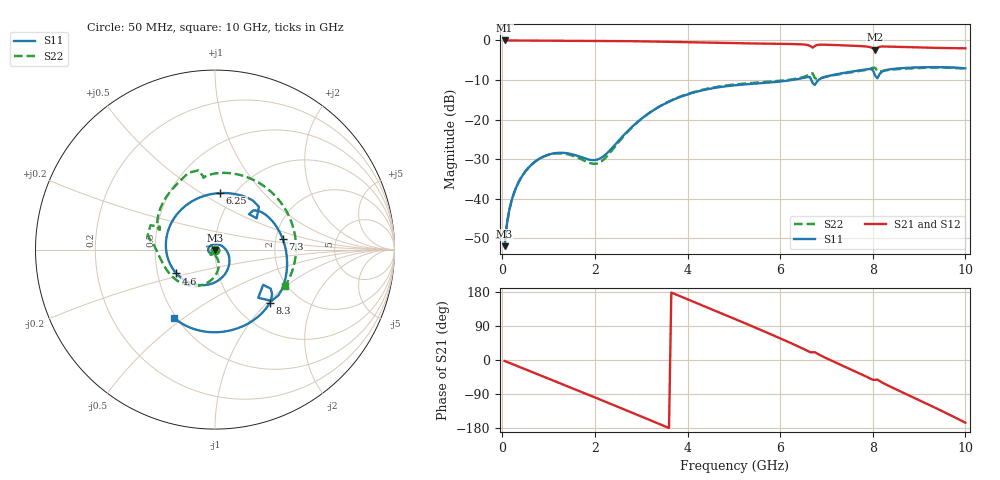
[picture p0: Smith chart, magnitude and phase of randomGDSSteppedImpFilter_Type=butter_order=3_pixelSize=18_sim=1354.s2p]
! freq	dB(S11)	phase(S11)	dB(S12)	phase(S12)
!  dB(S21)	phase(S21)	dB(S22)	phase(S22)
!S-par simulation data
#  GHz  S  DB  R 50
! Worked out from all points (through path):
!   200 points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, 50 MHz to 10 GHz, reference 50 ohm
!   highest |S21| = 0.00 dB at 50 MHz (marker M1); lowest = -2.4 dB at 8.05 GHz (marker M2)
!   group delay of S21, straight-line fit = 145 ps
!   lowest |S11| = -51.9 dB at 50 MHz (marker M3), VSWR 1.01, Z = 50 - j0.252 ohm
!   |S11| at or under -10 dB: start of sweep to 6.248 GHz; 6.674 GHz to 6.829 GHz (155.4 MHz wide, 2.3 % of centre)
!   |S22| runs from -51.9 to -6.9 dB; largest |S21 - S12| = 0
!   S11 on the Smith chart (normalised r, x): 50 MHz: 1.00, -0.01; 4.6 GHz: 0.63, -0.18; 6.25 GHz: 0.86, +0.60; 7.3 GHz: 2.19, +0.29; 8.3 GHz: 1.44, -1.04; 10 GHz: 0.48, -0.46
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0.05  -51.95 -85.5  -0.00 -2.5  -0.00 -2.5  -51.94 -83.9
0.1  -46.32 -91.9  -0.01 -5.0  -0.01 -5.0  -46.29 -89.4
0.2  -40.50 -100.6  -0.02 -9.9  -0.02 -9.9  -40.45 -95.6
0.55  -32.34 -124.9  -0.04 -27.1  -0.04 -27.1  -32.33 -110.5
1.1  -28.53 -163.3  -0.07 -54.2  -0.07 -54.2  -28.62 -128.5
1.75  -29.66 132.4  -0.10 -86.3  -0.10 -86.3  -30.25 -129.6
2.1  -29.86 73.0  -0.12 -103.7  -0.12 -103.7  -30.82 -101.0
2.5  -25.47 10.1  -0.15 -123.7  -0.15 -123.7  -25.85 -75.4
3.4  -16.66 -67.5  -0.31 -169.3  -0.31 -169.3  -16.63 -90.2
3.95  -13.81 -104.7  -0.45 162.8  -0.45 162.8  -13.71 -109.0
4.6  -11.96 -148.2  -0.61 129.9  -0.61 129.9  -11.79 -131.3
5.05  -11.29 -179.9  -0.70 106.9  -0.70 106.9  -11.09 -145.7
5.65  -10.75 134.2  -0.79 75.8  -0.79 75.8  -10.53 -162.6
6.25  -10.00 84.8  -0.91 43.7  -0.91 43.7  -9.84 -178.0
6.7  -10.74 36.9  -1.82 20.3  -1.82 20.3  -8.31 159.3
7.3  -8.35 8.6  -1.21 -12.3  -1.21 -12.3  -8.49 145.6
7.85  -7.32 -27.3  -1.52 -43.2  -1.52 -43.2  -7.45 119.2
8.05  -8.86 -48.1  -2.36 -52.3  -2.36 -52.3  -6.91 101.9
8.3  -7.44 -44.1  -1.54 -65.6  -1.54 -65.6  -7.52 92.5
8.35  -7.33 -46.8  -1.56 -68.6  -1.56 -68.6  -7.44 89.6
9.15  -6.75 -83.3  -1.82 -114.5  -1.82 -114.5  -6.92 35.5
10  -7.05 -121.3  -1.98 -165.4  -1.98 -165.4  -7.13 -27.6
